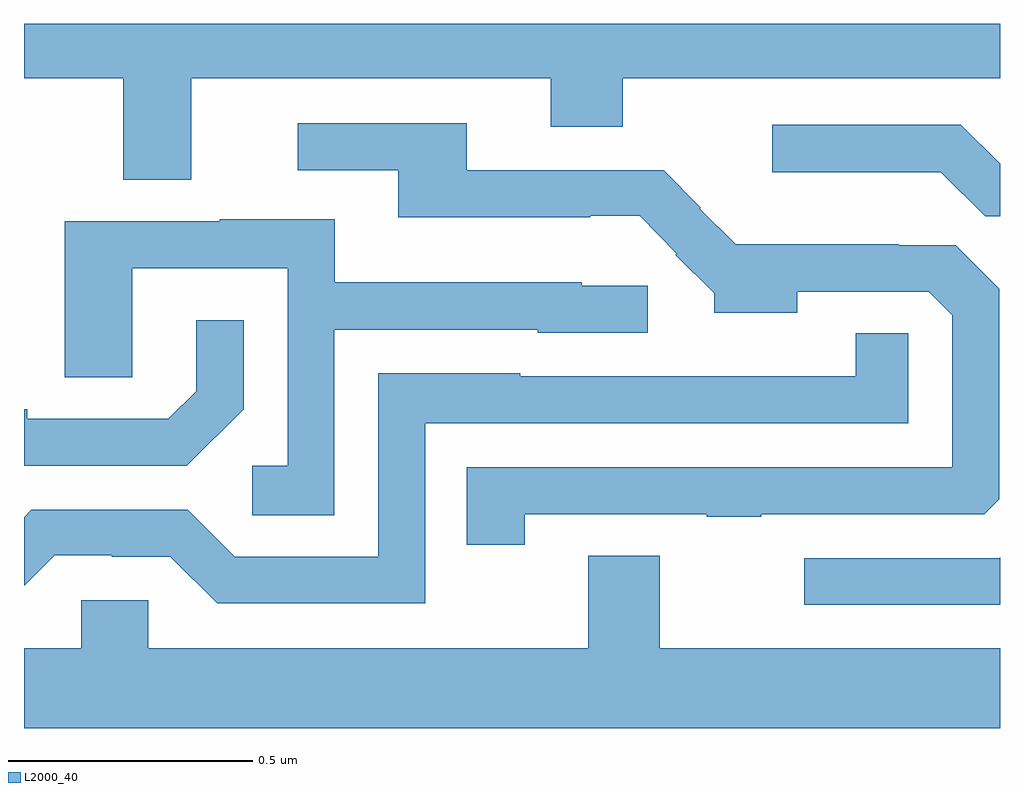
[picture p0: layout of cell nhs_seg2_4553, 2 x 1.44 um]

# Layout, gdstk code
import gdstk
lib = gdstk.Library(unit=1e-6, precision=1e-09)
def P(c, l, *ps):  # polygons
    for p in ps: c.add(gdstk.Polygon(p, *l))
L2000_40 = (2000, 40)

nhs_seg2_4553 = lib.new_cell('nhs_seg2_4553')
P(nhs_seg2_4553, L2000_40, [(168.343,595.688),(169.079,595.688),(169.079,595.589),(169.227,595.589),(169.227,595.688),(170,595.688),(170,595.8),(168,595.8),(168,595.688),(168.203,595.688),(168.203,595.48),(168.343,595.48)],
  [(169.026,594.795),(169.399,594.795),(169.399,594.79),(169.511,594.79),(169.511,594.795),(169.968,594.795),(169.998,594.825),(169.998,595.257),(169.909,595.346),(169.793,595.346),(169.793,595.348),(169.459,595.348),(169.385,595.421),(169.387,595.423),(169.311,595.5),(168.907,595.5),(168.907,595.596),(168.561,595.596),(168.561,595.5),(168.767,595.5),(168.767,595.403),(169.16,595.403),(169.16,595.406),(169.262,595.406),(169.338,595.329),(169.335,595.326),(169.414,595.248),(169.414,595.208),(169.585,595.208),(169.585,595.251),(169.854,595.251),(169.902,595.203),(169.902,594.891),(168.907,594.891),(168.907,594.732),(169.026,594.732)],
  [(170,595.513),(169.92,595.593),(169.533,595.593),(169.533,595.496),(169.879,595.496),(169.97,595.405),(170,595.405)],
  [(168.636,595.173),(169.053,595.173),(169.053,595.167),(169.278,595.167),(169.278,595.263),(169.143,595.263),(169.143,595.27),(168.637,595.27),(168.637,595.399),(168.401,595.399),(168.401,595.395),(168.083,595.395),(168.083,595.075),(168.222,595.075),(168.222,595.299),(168.54,595.299),(168.54,594.894),(168.468,594.894),(168.468,594.793),(168.636,594.793)],
  [(168.45,595.01),(168.45,595.192),(168.353,595.192),(168.353,595.047),(168.296,594.99),(168.007,594.99),(168.007,595.01),(168,595.01),(168,594.894),(168.334,594.894)],
  [(168.822,594.981),(169.812,594.981),(169.812,595.166),(169.704,595.166),(169.704,595.078),(169.449,595.078),(169.449,595.077),(169.017,595.077),(169.017,595.084),(168.726,595.084),(168.726,594.708),(168.432,594.708),(168.336,594.804),(168.015,594.804),(168,594.789),(168,594.648),(168.063,594.711),(168.18,594.711),(168.18,594.708),(168.3,594.708),(168.396,594.612),(168.822,594.612)],
  [(170,594.52),(169.303,594.52),(169.303,594.71),(169.156,594.71),(169.156,594.52),(168.255,594.52),(168.255,594.618),(168.117,594.618),(168.117,594.52),(168,594.52),(168,594.356),(170,594.356)],
  [(170,594.707),(169.998,594.705),(169.599,594.705),(169.599,594.609),(170,594.609)])

lib.write_gds('nhs_seg2_4553.gds')
